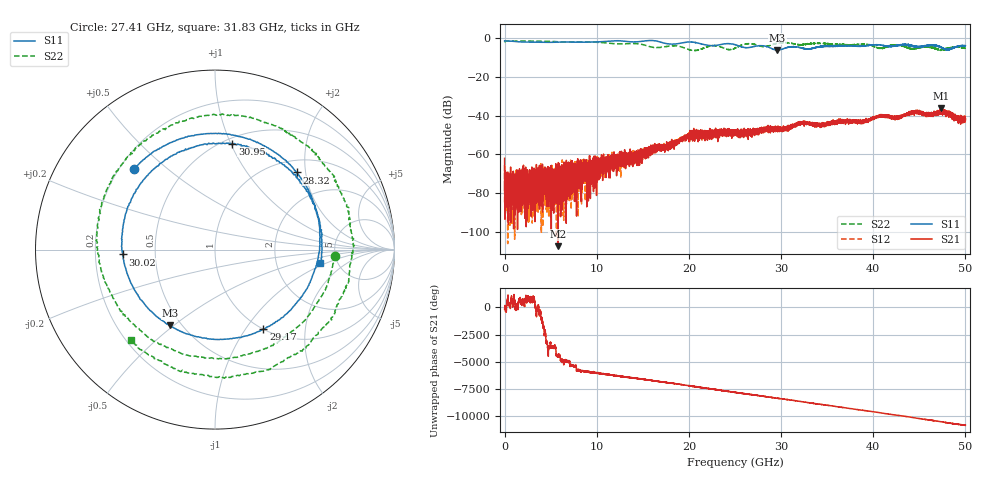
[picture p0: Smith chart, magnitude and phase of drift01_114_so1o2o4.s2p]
!Created with skrf (http://scikit-rf.org).
# Hz S RI R 50.0
!freq ReS11 ImS11 ReS21 ImS21 ReS12 ImS12 ReS22 ImS22
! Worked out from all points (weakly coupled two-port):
!   10001 points, 300 kHz to 50 GHz, reference 50 ohm
!   highest |S21| = -36.05 dB at 47.37 GHz (marker M1); lowest = -107.5 dB at 5.765 GHz (marker M2)
!   lowest |S11| = -6.2 dB at 29.61 GHz (marker M3), VSWR 2.93, Z = 21.8 - j24.2 ohm
!   |S11| at or under -10 dB: nowhere
!   |S22| runs from -6.4 to -1.4 dB; largest |S21 - S12| = 0.004
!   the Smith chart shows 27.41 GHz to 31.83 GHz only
!   S11 on the Smith chart (normalised r, x): 27.41 GHz: 0.26, +0.39; 28.32 GHz: 1.26, +1.79; 29.17 GHz: 1.00, -1.21; 30.02 GHz: 0.32, -0.02; 30.95 GHz: 0.55, +1.01; 31.83 GHz: 3.68, -0.83
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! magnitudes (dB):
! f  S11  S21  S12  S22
! 300 kHz  -1.3  -62.0  -65.6  -2.1
! 310.3 MHz  -1.4  -70.3  -76.1  -1.4
! 4.055 GHz  -2.0  -86.2  -80.2  -1.5
! 4.575 GHz  -2.1  -71.5  -75.7  -1.6
! 5.765 GHz  -2.0  -107.5  -74.2  -1.8
! 8.335 GHz  -2.0  -64.9  -71.2  -1.8
! 16.67 GHz  -1.6  -57.1  -56.6  -4.8
! 18.62 GHz  -2.9  -53.2  -54.6  -3.9
! 20.49 GHz  -2.0  -48.4  -50.9  -6.3
! 22.6 GHz  -3.8  -50.8  -50.8  -3.7
! 25 GHz  -3.3  -48.6  -48.9  -5.0
! 27.41 GHz  -3.9  -48.4  -47.9  -3.5
! 28.32 GHz  -4.1  -47.2  -47.1  -4.3
! 29.17 GHz  -5.7  -48.6  -47.7  -3.0
! 29.61 GHz  -6.2  -46.6  -47.6  -2.5
! 30.02 GHz  -5.7  -46.1  -47.7  -2.3
! 30.95 GHz  -4.5  -46.4  -46.5  -2.5
! 31.83 GHz  -4.6  -44.8  -43.9  -3.2
! 33.34 GHz  -5.3  -44.6  -44.1  -2.7
! 41.67 GHz  -4.2  -40.1  -40.4  -4.4
! 47.37 GHz  -4.8  -36.1  -38.3  -5.9
! 50 GHz  -3.8  -41.8  -41.2  -5.4
